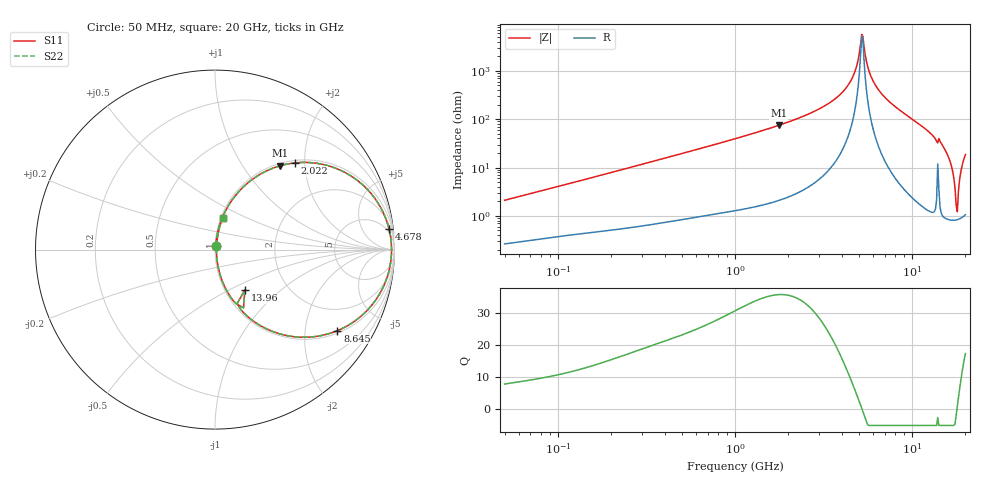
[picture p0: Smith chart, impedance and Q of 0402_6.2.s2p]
!Murata Part Number: LQG15HS6N2C02
!These Parameters are Measured in Series Mode Connection
!  o--[Z]--o
!Port1  Port2
!  o-------o
!Freq. Start=50[MHz] Stop=20[GHz], 401[Steps]
# Hz S RI R 50
!Freq.(Hz) S11(Real) S11(Imag) S21(Real) S21(Imag) S12(Real) S12(Imag) S22(Real) S22(Imag)
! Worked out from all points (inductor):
!   401 points, 50 MHz to 20 GHz, reference 50 ohm
!   read as one part in series: L = 6.58 nH near 51.52 MHz
!   highest Q = 35.9 at 1.767 GHz (marker M1), where L = 6.75 nH
!   self-resonance near 5.195 GHz
!   S11 on the Smith chart (normalised r, x): 50 MHz: 1.01, +0.04; 2.022 GHz: 1.05, +1.78; 4.678 GHz: 3, +16; 8.645 GHz: 1.08, -2.96; 13.96 GHz: 1.24, -0.60; 20 GHz: 1.02, +0.37
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5e7  0.00306 0.0208  0.9969 -0.0208  0.9969 -0.0208  0.00306 0.0208
1.364002e8  0.0072 0.0538  0.9928 -0.0538  0.9928 -0.0538  0.0072 0.0538
3.721004e8  0.0272 0.1403  0.9728 -0.1403  0.9728 -0.1403  0.0272 0.1403
1e9  0.1426 0.3338  0.8574 -0.3338  0.8574 -0.3338  0.1426 0.3338
1.766834e9  0.3632 0.4672  0.6368 -0.4672  0.6368 -0.4672  0.3632 0.4672
2.021818e9  0.4435 0.483  0.5565 -0.483  0.5565 -0.483  0.4435 0.483
2.728004e9  0.6537 0.46  0.3463 -0.46  0.3463 -0.46  0.6537 0.46
3.850025e9  0.89 0.2864  0.11 -0.2864  0.11 -0.2864  0.89 0.2864
4.677679e9  0.97 0.1141  0.03 -0.1141  0.03 -0.1141  0.97 0.1141
5.117541e9  0.9833 0.022  0.0167 -0.022  0.0167 -0.022  0.9833 0.022
5.273168e9  0.9837 -0.00978  0.0163 0.00978  0.0163 0.00978  0.9837 -0.00978
5.598765e9  0.9783 -0.074  0.0217 0.074  0.0217 0.074  0.9783 -0.074
5.944466e9  0.9641 -0.1381  0.0359 0.1381  0.0359 0.1381  0.9641 -0.1381
7.442007e9  0.8317 -0.3547  0.1683 0.3547  0.1683 0.3547  0.8317 -0.3547
8.644534e9  0.6816 -0.4518  0.3184 0.4518  0.3184 0.4518  0.6816 -0.4518
1.115139e10  0.3679 -0.4713  0.6321 0.4713  0.6321 0.4713  0.3679 -0.4713
1.396067e10  0.1668 -0.2247  0.8332 0.2247  0.8332 0.2247  0.1668 -0.2247
1.621653e10  0.0295 -0.1438  0.9705 0.1438  0.9705 0.1438  0.0295 -0.1438
1.774144e10  0.00839 -0.014  0.9916 0.014  0.9916 0.014  0.00839 -0.014
1.828096e10  0.00946 0.0318  0.9905 -0.0318  0.9905 -0.0318  0.00946 0.0318
1.912117e10  0.0199 0.1025  0.9801 -0.1025  0.9801 -0.1025  0.0199 0.1025
2e10  0.0427 0.1756  0.9573 -0.1756  0.9573 -0.1756  0.0427 0.1756
